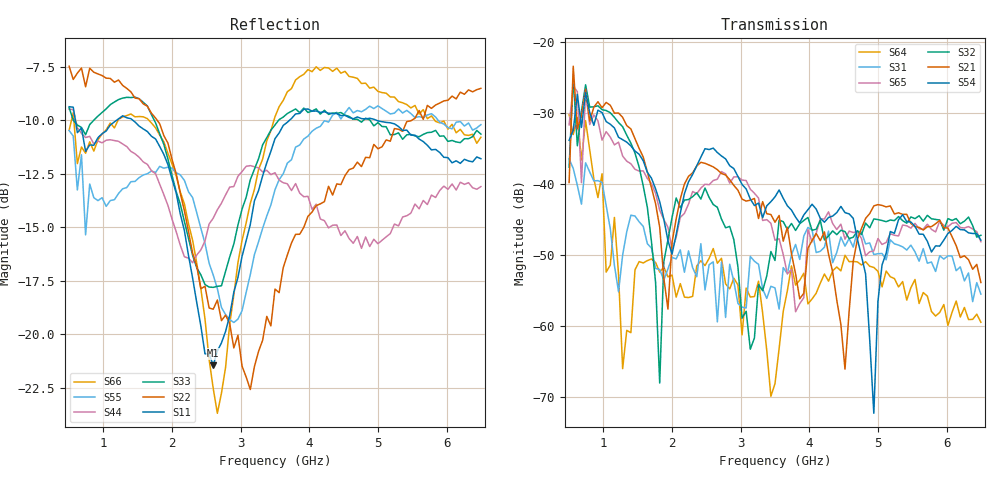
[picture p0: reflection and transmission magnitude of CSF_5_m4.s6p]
!Keysight Technologies,M9804A,MY58100912,A.14.10.03
!Date: Thursday, April 27, 2023 10:28:33
!Correction: S11(C  6-Port  )
!S12(C  6-Port  )
!S13(C  6-Port  )
!S14(C  6-Port  )
!S15(C  6-Port  )
!S16(C  6-Port  )
!S21(C  6-Port  )
!S22(C  6-Port  )
!S23(C  6-Port  )
!S24(C  6-Port  )
!S25(C  6-Port  )
!S26(C  6-Port  )
!S31(C  6-Port  )
!S32(C  6-Port  )
!S33(C  6-Port  )
!S34(C  6-Port  )
!S35(C  6-Port  )
!S36(C  6-Port  )
!S41(C  6-Port  )
!S42(C  6-Port  )
!S43(C  6-Port  )
!S44(C  6-Port  )
!S45(C  6-Port  )
!S46(C  6-Port  )
!S51(C  6-Port  )
!S52(C  6-Port  )
!S53(C  6-Port  )
!S54(C  6-Port  )
!S55(C  6-Port  )
!S56(C  6-Port  )
!S61(C  6-Port  )
!S62(C  6-Port  )
!S63(C  6-Port  )
!S64(C  6-Port  )
!S65(C  6-Port  )
!S66(C  6-Port  )
!S6P File: Measurement: :
# Hz S  RI  R 50
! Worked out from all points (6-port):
!   101 points, 500 MHz to 6.5 GHz, reference 50 ohm
!   strongest paths, dB at 500 MHz, 2 GHz, 3.5 GHz, 5 GHz, 6.5 GHz:
!     S54: -33.8, -49.9, -41.8, -56.5, -47.9
!     S21: -39.8, -48.2, -45.4, -42.9, -53.9
!     S32: -37.6, -44.7, -50.8, -45.0, -47.2
!     S65: -31.6, -49.2, -47.9, -47.7, -48.1
!     S31: -36.4, -50.3, -54.6, -49.8, -55.5
!     S64: -30.2, -52.8, -68.1, -52.3, -59.5
!   lowest |S11| = -21.5 dB at 2.6 GHz (marker M1), VSWR 1.18, Z = 42.5 + j2.16 ohm
!   |S11| at or under -10 dB: 590.4 MHz to 1.195 GHz (604.5 MHz wide, 67.7 % of centre); 1.426 GHz to 3.715 GHz (2.289 GHz wide, 89.1 % of centre); 4.971 GHz to end of sweep
